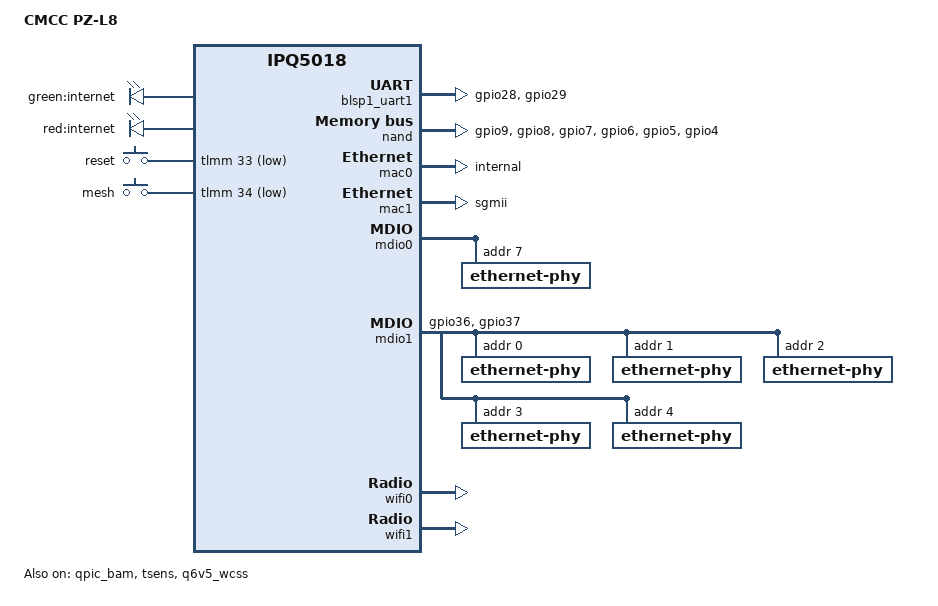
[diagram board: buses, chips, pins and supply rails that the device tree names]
// SPDX-License-Identifier: (GPL-2.0+)

/dts-v1/;

#include "ipq5018.dtsi"

/ {
	model = "CMCC PZ-L8";
	compatible = "cmcc,pz-l8", "qcom,ipq5018";

	#address-cells = <2>;
	#size-cells = <2>;
	interrupt-parent = <&intc>;

	aliases {
		serial0 = &blsp1_uart1;

		ethernet0 = &mac0;
		ethernet1 = &mac1;

		led-boot = &led_internet_red;
		led-failsafe = &led_internet_green;
		led-running = &led_internet_red;
		led-upgrade = &led_internet_green;
	};

	chosen {
		bootargs-append = " root=/dev/ubiblock0_1 swiotlb=1 coherent_pool=2M";
		stdout-path = "serial0:115200n8";
	};

	reserved-memory {
		q6_mem_regions: q6_mem_regions@4b000000 {
			no-map;
#ifndef CONFIG_ATH11K_MEM_PROFILE_256M
			reg = <0x0 0x4b000000 0x0 0x3b00000>;
#else
			reg = <0x0 0x4b000000 0x0 0x3000000>;
#endif
		};
	};

	thermal-zones {
		status = "ok";
	};
};

&tmc_etr {
	/delete-property/ memory-region;
};

&tlmm {
	blsp_uart0_pins: blsp_uart0_pins {
		pins =
			"gpio28", // RX
			"gpio29"; // TX
		function = "blsp0_uart1";
		drive-strength = <8>;
		bias-disable;
	};

	qspi_nand_pins: qspi_nand_pins {
		clock {
			pins = "gpio9";
			function = "qspi_clk";
			drive-strength = <8>;
			bias-disable;
		};

		cs {
			pins = "gpio8";
			function = "qspi_cs";
			drive-strength = <8>;
			bias-disable;
		};

		data {
			pins = "gpio7", "gpio6", "gpio5", "gpio4";
			function = "qspi_data";
			drive-strength = <8>;
			bias-disable;
		};
	};

	mdio1_pins: mdio1_pins {
		mdc {
			pins = "gpio36";
			function = "mdc";
			drive-strength = <8>;
			bias-pull-up;
		};

		mdio {
			pins = "gpio37";
			function = "mdio";
			drive-strength = <8>;
			bias-pull-up;
		};
	};

	leds_pins: leds_pins {
		led_internet_green {
			pins = "gpio35";
			function = "gpio";
			drive-strength = <8>;
			bias-pull-down;
		};

		led_internet_red {
			pins = "gpio30";
			function = "gpio";
			drive-strength = <8>;
			bias-pull-down;
		};
	};

	button_pins: button_pins {
		button_reset {
			pins = "gpio33";
			function = "gpio";
			drive-strength = <8>;
			bias-pull-up;
		};

		button_mesh {
			pins = "gpio34";
			function = "gpio";
			drive-strength = <8>;
			bias-pull-up;
		};
	};
};

&blsp1_uart1 {
	pinctrl-0 = <&blsp_uart0_pins>;
	pinctrl-names = "default";
	status = "ok";
};

&qpic_bam {
	status = "ok";
};

&nand {
	pinctrl-0 = <&qspi_nand_pins>;
	pinctrl-names = "default";
	status = "ok";
};

&tsens {
	status = "ok";
};

&soc {
	leds {
		compatible = "gpio-leds";
		pinctrl-0 = <&leds_pins>;
		pinctrl-names = "default";

		led_internet_green: led_internet_green {
			label = "green:internet";
			gpio = <&tlmm 35 GPIO_ACTIVE_HIGH>;
			default-state = "off";
		};

		led_internet_red: led_internet_red {
			label = "red:internet";
			gpio = <&tlmm 30 GPIO_ACTIVE_HIGH>;
			default-state = "on";
		};
	};

	button {
		compatible = "gpio-keys";
		pinctrl-0 = <&button_pins>;
		pinctrl-names = "default";

		button_reset {
			label = "reset";
			gpios = <&tlmm 33 GPIO_ACTIVE_LOW>;
			linux,input-type = <EV_KEY>;
			linux,code = <KEY_RESTART>;
			debounce-interval = <60>;
		};

		button_mesh {
			label = "mesh";
			gpios = <&tlmm 34 GPIO_ACTIVE_LOW>;
			linux,input-type = <EV_KEY>;
			linux,code = <KEY_WPS_BUTTON>;
			debounce-interval = <60>;
		};
	};

	ess-instance {
		num_devices = <2>;

		// Dummy switch, to describe how the external ports connects to the MAC
		// For example, some chips have PSGMII ports which combine 5 MAC into
		// 1 external port.
		// For IPQ50xx, this is used to choose SGMII or SGMII-plus
		ess-switch@0x39c00000 {
			compatible = "qcom,ess-switch-ipq50xx";
			device_id = <0>;

			cmnblk_clk = "internal_96MHz";

			// MAC1 Mode
			// switch_mac_mode = <0xc>; // PORT_WRAPPER_SGMII_PLUS
			switch_mac_mode = <0xf>; // PORT_WRAPPER_SGMII_CHANNEL0

			qcom,port_phyinfo {
				// MAC0 -> GE Phy -> QCA8337 Phy4
				port@0 {
					port_id = <1>;

					mdiobus = <&mdio0>;
					phy_address = <7>;

					phy_dac = <0x10 0x10>;
				};

				// MAC1 ---SGMII---> QCA8337 SerDes
				port@1 {
					port_id = <2>;

					forced-speed = <1000>;
					forced-duplex = <1>;
				};
			};
		};

		// QCA8337
		ess-switch1@1 {
			compatible = "qcom,ess-switch-qca83xx";
			device_id = <1>;

			reset_gpio = <26>;

			switch_access_mode = "mdio";
			mdio-bus = <&mdio1>;

			qca,ar8327-initvals = <
				0x000c 0x00000080  // PAD6_MODE = MAC6_SGMII_EN
				0x0010 0x002613a0  // PWS_REG = DEFAULT_VALUE | SERDES_AEN
				0x0094 0x000010ce  // PORT6_STATUS = DEFAULT_VALUE | DUPLEX_MODE_6 | RXMAC_EN_6 |
						   //                TXMAC_EN_6 | SPEED_6(1000M)
				0x00e0 0xc74164de  // SGMII_CTRL = DEFAULT_VALUE | MODE_CTRL_25M(SGMII_PHY) | SGMII_EN_SD |
						   //              SGMII_EN_TX | SGMII_EN_RX | SGMII_EN_PLL
			>;

			switch_cpu_bmp = <0x40>;  // CPU port bitmap: 6
			switch_lan_bmp = <0x0e>;  // LAN port bitmap: 1 2 3
			switch_wan_bmp = <0x30>;  // WAN port bitmap: 4 5

			qcom,port_phyinfo {
				// MAC1 -> Phy0 -> LAN3
				port@1 {
					port_id = <1>;
					phy_address = <0>;
				};

				// MAC2 -> Phy1 -> LAN2
				port@2 {
					port_id = <2>;
					phy_address = <1>;
				};

				// MAC3 -> Phy2 -> LAN1
				port@3 {
					port_id = <3>;
					phy_address = <2>;
				};

				// MAC4 -> Phy3 -> WAN
				port@4 {
					port_id = <4>;
					phy_address = <3>;
				};

				// MAC5 -> Phy4 -> IPQ5000 GE Phy
				port@5 {
					port_id = <5>;
					phy_address = <4>;
				};

				// MAC6 ---SGMII---> IPQ5000 MAC1
				port@6 {
					port_id = <6>;

					forced-speed = <1000>;
					forced-duplex = <1>;
				};
			};
		};
	};

	// MAC0 -> GE Phy
	mac0: dp1 {
		compatible = "qcom,nss-dp";
		device_type = "network";
		qcom,id = <1>;

		reg = <0x39C00000 0x10000>;
		interrupts = <GIC_SPI 101 IRQ_TYPE_LEVEL_HIGH>;
		clocks = <&gcc GCC_SNOC_GMAC0_AXI_CLK>;
		clock-names = "nss-snoc-gmac-axi-clk";

		qcom,mactype = <2>; // GMAC_HAL_TYPE_SYN_GMAC
		local-mac-address = [000000000000];
		mdio-bus = <&mdio0>;
		qcom,phy-mdio-addr = <7>;
		phy-mode = "internal";
		qcom,link-poll = <1>;
	};

	// MAC1 ---SGMII---> QCA8337 SerDes
	mac1: dp2 {
		compatible = "qcom,nss-dp";
		device_type = "network";
		qcom,id = <2>;

		reg = <0x39D00000 0x10000>;
		interrupts = <GIC_SPI 109 IRQ_TYPE_LEVEL_HIGH>;
		clocks = <&gcc GCC_SNOC_GMAC1_AXI_CLK>;
		clock-names = "nss-snoc-gmac-axi-clk";

		qcom,mactype = <2>; // GMAC_HAL_TYPE_SYN_GMAC
		local-mac-address = [000000000000];
		phy-mode = "sgmii";
	};
};

&mdio0 {
	status = "ok";

	// IPQ5018 GE Phy -> QCA8337 Phy4
	ethernet-phy@0 {
		reg = <7>;
	};
};

&mdio1 {
	pinctrl-0 = <&mdio1_pins>;
	pinctrl-names = "default";
	phy-reset-gpio = <&tlmm 26 0>;
	status = "ok";

	// QCA8337 Phy0 -> LAN3
	ethernet-phy@0 {
		reg = <0>;
	};

	// QCA8337 Phy1 -> LAN2
	ethernet-phy@1 {
		reg = <1>;
	};

	// QCA8337 Phy2 -> LAN1
	ethernet-phy@2 {
		reg = <2>;
	};

	// QCA8337 Phy3 -> WAN
	ethernet-phy@3 {
		reg = <3>;
	};

	// QCA8337 Phy4 -> IPQ5018 GE Phy
	ethernet-phy@4 {
		reg = <4>;
	};
};

&q6v5_wcss {
	compatible = "qcom,ipq5018-q6-mpd";
	#address-cells = <1>;
	#size-cells = <1>;
	ranges;

	resets =
		<&gcc GCC_WCSSAON_RESET>,
		<&gcc GCC_WCSS_Q6_BCR>;
	reset-names =
		"wcss_aon_reset",
		"wcss_q6_reset";

	clocks =
		<&gcc GCC_Q6_AXIS_CLK>,
		<&gcc GCC_WCSS_ECAHB_CLK>,
		<&gcc GCC_Q6_AXIM_CLK>,
		<&gcc GCC_Q6_AXIM2_CLK>,
		<&gcc GCC_Q6_AHB_CLK>,
		<&gcc GCC_Q6_AHB_S_CLK>,
		<&gcc GCC_WCSS_AXI_S_CLK>;
	clock-names =
		"gcc_q6_axis_clk",
		"gcc_wcss_ecahb_clk",
		"gcc_q6_axim_clk",
		"gcc_q6_axim2_clk",
		"gcc_q6_ahb_clk",
		"gcc_q6_ahb_s_clk",
		"gcc_wcss_axi_s_clk";

	reg =
		<0x0cd00000 0x4040>,
		<0x1938000 0x8>,
		<0x193d204 0x4>;
	reg-names =
		"qdsp6",
		"tcsr-msip",
		"tcsr-q6";

	memory-region = <&q6_mem_regions>;

	qcom,rproc = <&q6v5_wcss>;
	firmware = "IPQ5018/q6_fw.mdt";

	qcom,bootargs_smem = <507>;
	boot-args = </*       type: */ 0x2 /* PCIE1 */
		     /*     length: */ 4
		     /*      PD id: */ 2
		     /* reset GPIO: */ 27
		     /*   reserved: */ 0 0>;

	status = "ok";

	// IPQ5018
	q6_wcss_pd1: remoteproc_pd1@4ab000 {
		compatible = "qcom,ipq5018-wcss-ahb-mpd";

		resets =
			<&gcc GCC_WCSSAON_RESET>,
			<&gcc GCC_WCSS_BCR>,
			<&gcc GCC_CE_BCR>;
		reset-names =
			"wcss_aon_reset",
			"wcss_reset",
			"ce_reset";

		clocks =
			<&gcc GCC_WCSS_AHB_S_CLK>,
			<&gcc GCC_WCSS_ACMT_CLK>,
			<&gcc GCC_WCSS_AXI_M_CLK>;
		clock-names =
			"gcc_wcss_ahb_s_clk",
			"gcc_wcss_acmt_clk",
			"gcc_wcss_axi_m_clk";

		reg = <0x4ab000 0x20>;
		reg-names = "rmb";

		qcom,halt-regs = <&tcsr_q6_block 0xa000 0xd000 0x0>;

		interrupts-extended =
			<&wcss_smp2p_in 8 0>,
			<&wcss_smp2p_in 9 0>,
			<&wcss_smp2p_in 12 0>,
			<&wcss_smp2p_in 11 0>;
		interrupt-names =
			"fatal",
			"ready",
			"spawn-ack",
			"stop-ack";

		qcom,smem-states =
			<&wcss_smp2p_out 8>,
			<&wcss_smp2p_out 9>,
			<&wcss_smp2p_out 10>;
		qcom,smem-state-names =
			"shutdown",
			"stop",
			"spawn";

		firmware = "IPQ5018/q6_fw.mdt";
		m3_firmware = "IPQ5018/m3_fw.mdt";
	};

	// QCN6102
	q6_wcss_pd2: remoteproc_pd2 {
		compatible = "qcom,ipq5018-wcss-pcie-mpd";

		interrupts-extended =
			<&wcss_smp2p_in 16 0>,
			<&wcss_smp2p_in 17 0>,
			<&wcss_smp2p_in 20 0>,
			<&wcss_smp2p_in 19 0>;
		interrupt-names =
			"fatal",
			"ready",
			"spawn-ack",
			"stop-ack";

		qcom,smem-states =
			<&wcss_smp2p_out 16>,
			<&wcss_smp2p_out 17>,
			<&wcss_smp2p_out 18>;
		qcom,smem-state-names =
			"shutdown",
			"stop",
			"spawn";

		firmware = "IPQ5018/q6_fw.mdt";
		m3_firmware = "qcn6122/m3_fw.mdt";
	};
};

&wifi0 {
	// IPQ5000
	qcom,multipd_arch;
	qcom,rproc = <&q6_wcss_pd1>;
	qcom,userpd-subsys-name = "q6v5_wcss_userpd1";

	qcom,board_id = <0x10>;

	qcom,bdf-addr = <0x4c400000 0x4c400000 0x4c400000>;
	qcom,caldb-addr = <0x4d200000 0x4d200000 0>;
#ifndef CONFIG_ATH11K_MEM_PROFILE_256M
	m3-dump-addr = <0x4d400000>;
#else
	m3-dump-addr = <0>;
#endif

	status = "ok";
};

&wifi1 {
	// QCN6102
	qcom,multipd_arch;
	qcom,rproc = <&q6_wcss_pd2>;
	qcom,userpd-subsys-name = "q6v5_wcss_userpd2";

	qcom,board_id = <0x50>;

	qcom,bdf-addr = <0x4d500000 0x4d500000 0x4d100000>;
	qcom,caldb-addr = <0x4e500000 0x4e500000 0>;
#ifndef CONFIG_ATH11K_MEM_PROFILE_256M
	m3-dump-addr = <0x4ea00000>;
#else
	m3-dump-addr = <0x4df00000>;
#endif

	status = "ok";
};
